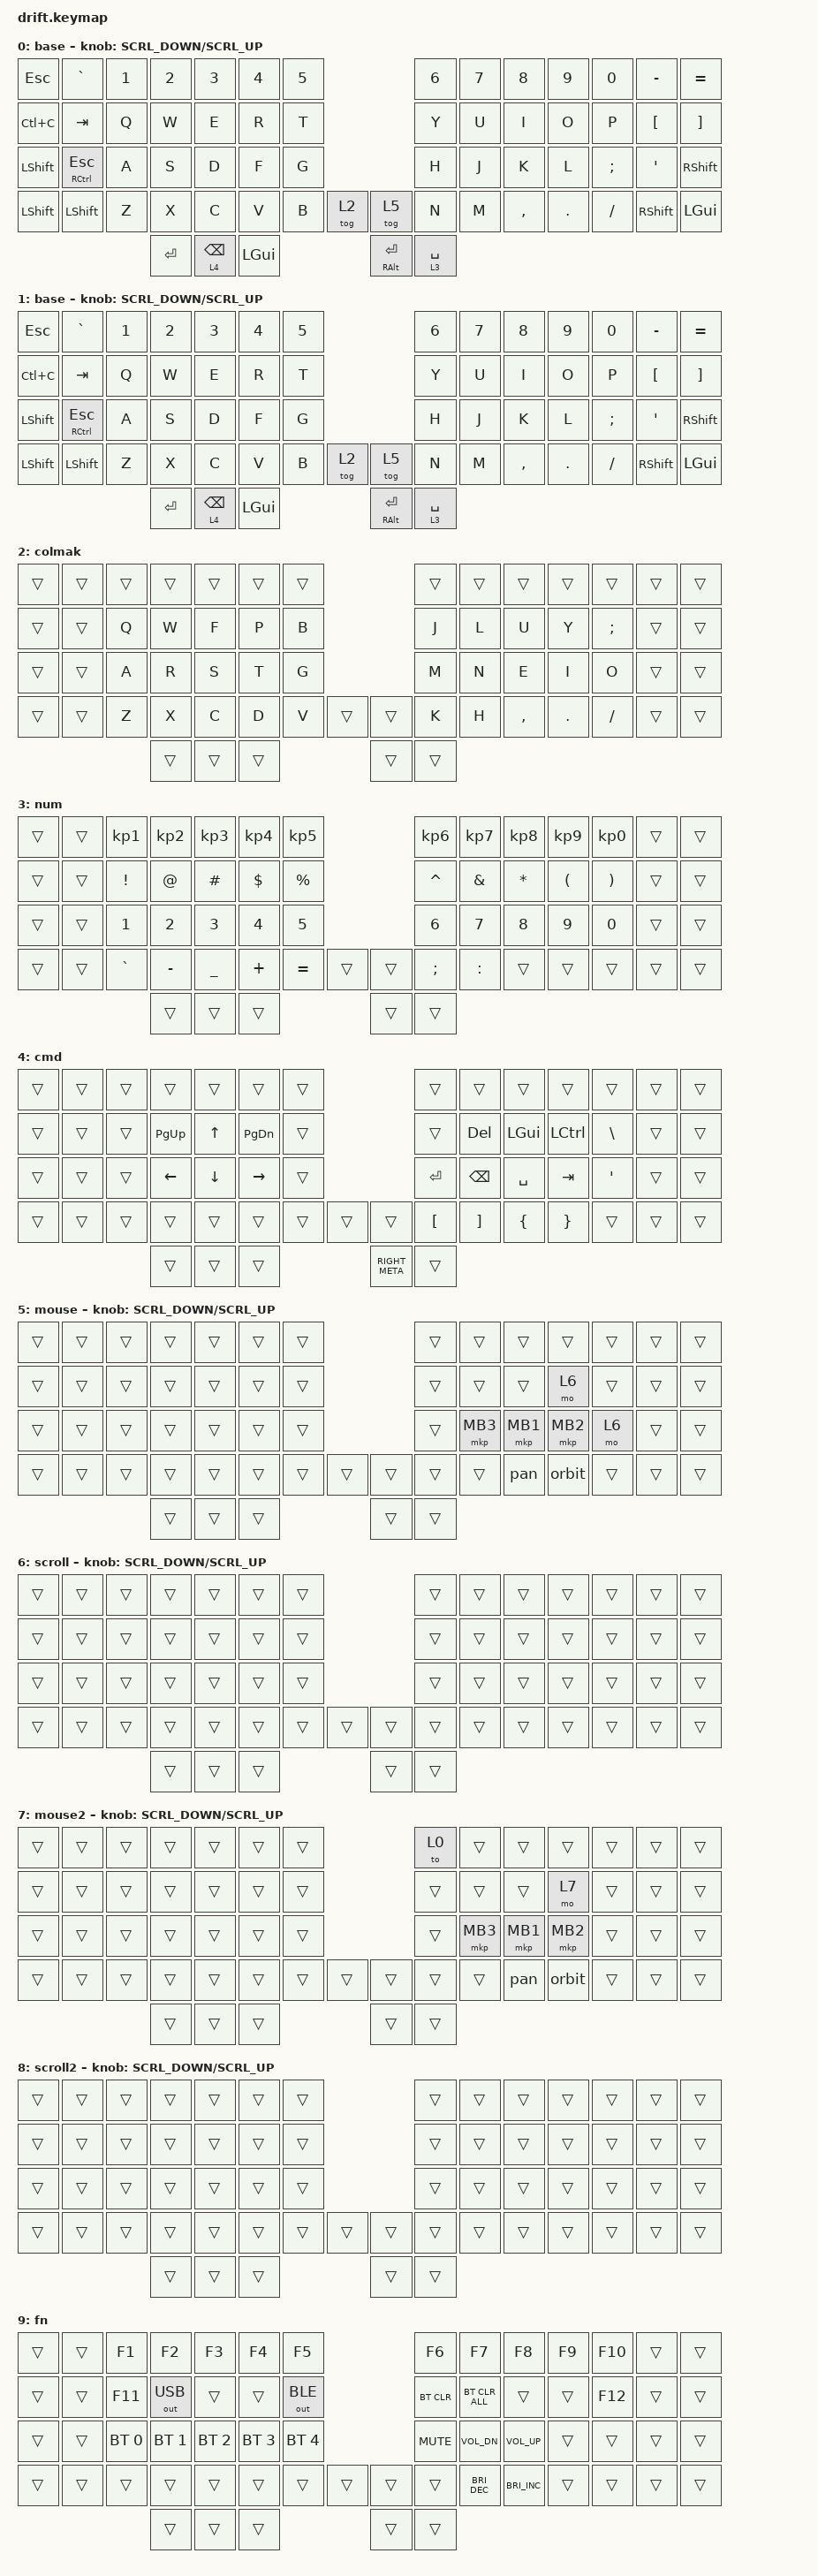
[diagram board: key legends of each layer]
// Copyright (c) 2025 The ZMK Contributors
// SPDX-License-Identifier: MIT
// Default scroll sensitivity for encoder-based scrolling

#define ZMK_POINTING_DEFAULT_SCRL_VAL 100    // default was 10

#include <input/processors.dtsi>
#include <dt-bindings/zmk/mouse.h>
#include <behaviors/mouse_keys.dtsi>
#include <dt-bindings/zmk/input_transform.h>
#include <zephyr/dt-bindings/input/input-event-codes.h>
#include <behaviors.dtsi>
#include <dt-bindings/zmk/bt.h>
#include <dt-bindings/zmk/keys.h>
#include <dt-bindings/zmk/outputs.h>
#include <dt-bindings/zmk/pointing.h>

// Keep all behavior settings visible in ZMK Studio

#define ZMK_BEHAVIORS_OMIT_KT

// Layer indices

#define BASE    0
#define LOWER   1
#define RAISE   2
#define ADJUST  3
#define MOUSE   4
#define SCROLL  5
#define MOUSE2  6
#define SCROLL2 7

// Reference: https://zmk.dev/docs/keymaps/behaviors/

/ {
    conditional_layers {
        compatible = "zmk,conditional-layers";

        tri_layer {
            if-layers = <3 4>;
            then-layer = <9>;
        };

        tri2 {
            if-layers = <4 3>;
            then-layer = <9>;
        };
    };

    behaviors {
        enc_scroll: enc_scroller {
            compatible = "zmk,behavior-sensor-rotate-var";
            #sensor-binding-cells = <2>;
            bindings = <&msc>, <&msc>;

            tap-ms = <20>;
        };

        thumb_layer_space: thumb_layer_space {
            compatible = "zmk,behavior-hold-tap";
            label = "THUMB_LAYER_SPACE";
            bindings = <&mo>, <&kp>;

            #binding-cells = <2>;
            tapping-term-ms = <170>;
            quick-tap-ms = <200>;
            flavor = "balanced";
        };

        thumb_layer: thumb_layer {
            compatible = "zmk,behavior-hold-tap";
            label = "THUMB_LAYER";
            bindings = <&mo>, <&kp>;

            #binding-cells = <2>;
            tapping-term-ms = <200>;
            quick-tap-ms = <300>;
            flavor = "balanced";
        };
    };

    macros {
        orbit: orbit {
            compatible = "zmk,behavior-macro";
            #binding-cells = <0>;
            bindings =
                <&macro_press>,
                <&kp LSHIFT &mkp MCLK>,
                <&macro_pause_for_release>,
                <&macro_release>,
                <&kp LSHIFT &mkp MCLK>;
        };

        pan: pan {
            compatible = "zmk,behavior-macro";
            #binding-cells = <0>;
            bindings =
                <&macro_press>,
                <&mkp MCLK>,
                <&macro_pause_for_release>,
                <&macro_release>,
                <&mkp MCLK>;
        };
    };

    keymap {
        compatible = "zmk,keymap";

        // ------------------------------------------------------------------------------
        // BASE Layer
        // ------------------------------------------------------------------------------
        // | ESC | ` | 1 | 2 |  3  |  4  |  5  |         |  6  |  7  | 8 | 9 | 0 | -  | = |
        // |COPY |TAB| Q | W |  E  |  R  |  T  |         |  Y  |  U  | I | O | P | [  | ] |
        // | GUI |CAP| A | S |  D  |  F  |  G  |         |  H  |  J  | K | L | ; | '  |ENT|
        // | CTL |ALT| Z | X |  C  |  V  |  B  |Paste| \ |  N  |  M  | , | . | / |Bspc|Del|
        //                   |Shift|Space|Lower|         |Raise|Space|

        default_layer {
            display-name = "base";
            bindings = <
&kp ESC         &kp GRAVE                 &kp N1  &kp N2     &kp N3                    &kp N4        &kp N5                               &kp N6                      &kp N7  &kp N8     &kp N9   &kp N0    &kp MINUS        &kp EQUAL
&kp LC(C)       &kp TAB                   &kp Q   &kp W      &kp E                     &kp R         &kp T                                &kp Y                       &kp U   &kp I      &kp O    &kp P     &kp LBKT         &kp RBKT
&kp LEFT_SHIFT  &mt RIGHT_CONTROL ESCAPE  &kp A   &kp S      &kp D                     &kp F         &kp G                                &kp H                       &kp J   &kp K      &kp L    &kp SEMI  &kp SQT          &kp RIGHT_SHIFT
&kp LEFT_SHIFT  &kp LEFT_SHIFT            &kp Z   &kp X      &kp C                     &kp V         &kp B   &tog 2  &tog 5               &kp N                       &kp M   &kp COMMA  &kp DOT  &kp FSLH  &kp RIGHT_SHIFT  &kp LEFT_GUI
                                                  &kp ENTER  &thumb_layer 4 BACKSPACE  &kp LEFT_GUI                  &mt RIGHT_ALT ENTER  &thumb_layer_space 3 SPACE
            >;

            sensor-bindings = <&enc_scroll SCRL_DOWN SCRL_UP>;
        };

        gaming {
            display-name = "base";
            bindings = <
&kp ESC         &kp GRAVE                 &kp N1  &kp N2     &kp N3                    &kp N4        &kp N5                               &kp N6                      &kp N7  &kp N8     &kp N9   &kp N0    &kp MINUS        &kp EQUAL
&kp LC(C)       &kp TAB                   &kp Q   &kp W      &kp E                     &kp R         &kp T                                &kp Y                       &kp U   &kp I      &kp O    &kp P     &kp LBKT         &kp RBKT
&kp LEFT_SHIFT  &mt RIGHT_CONTROL ESCAPE  &kp A   &kp S      &kp D                     &kp F         &kp G                                &kp H                       &kp J   &kp K      &kp L    &kp SEMI  &kp SQT          &kp RIGHT_SHIFT
&kp LEFT_SHIFT  &kp LEFT_SHIFT            &kp Z   &kp X      &kp C                     &kp V         &kp B   &tog 2  &tog 5               &kp N                       &kp M   &kp COMMA  &kp DOT  &kp FSLH  &kp RIGHT_SHIFT  &kp LEFT_GUI
                                                  &kp ENTER  &thumb_layer 4 BACKSPACE  &kp LEFT_GUI                  &mt RIGHT_ALT ENTER  &thumb_layer_space 3 SPACE
            >;

            sensor-bindings = <&enc_scroll SCRL_DOWN SCRL_UP>;
        };

        colmak {
            bindings = <
&trans  &trans  &trans  &trans  &trans  &trans  &trans                  &trans  &trans  &trans     &trans   &trans    &trans  &trans
&trans  &trans  &kp Q   &kp W   &kp F   &kp P   &kp B                   &kp J   &kp L   &kp U      &kp Y    &kp SEMI  &trans  &trans
&trans  &trans  &kp A   &kp R   &kp S   &kp T   &kp G                   &kp M   &kp N   &kp E      &kp I    &kp O     &trans  &trans
&trans  &trans  &kp Z   &kp X   &kp C   &kp D   &kp V   &trans  &trans  &kp K   &kp H   &kp COMMA  &kp DOT  &kp FSLH  &trans  &trans
                        &trans  &trans  &trans                  &trans  &trans
            >;

            label = "colmak";
        };

        number {
            bindings = <
&trans  &trans  &kp KP_NUMBER_1  &kp KP_NUMBER_2  &kp KP_NUMBER_3  &kp KP_NUMBER_4  &kp KP_NUMBER_5                  &kp KP_NUMBER_6  &kp KP_NUMBER_7  &kp KP_NUMBER_8  &kp KP_NUMBER_9       &kp KP_NUMBER_0        &trans  &trans
&trans  &trans  &kp EXCLAMATION  &kp AT_SIGN      &kp HASH         &kp DOLLAR       &kp PERCENT                      &kp CARET        &kp AMPERSAND    &kp ASTERISK     &kp LEFT_PARENTHESIS  &kp RIGHT_PARENTHESIS  &trans  &trans
&trans  &trans  &kp N1           &kp N2           &kp N3           &kp N4           &kp N5                           &kp N6           &kp N7           &kp N8           &kp N9                &kp N0                 &trans  &trans
&trans  &trans  &kp GRAVE        &kp MINUS        &kp UNDER        &kp PLUS         &kp EQUAL        &trans  &trans  &kp SEMICOLON    &kp COLON        &trans           &trans                &trans                 &trans  &trans
                                 &trans           &trans           &trans                                    &trans  &trans
            >;

            label = "num";
        };

        cmd {
            bindings = <
&trans  &trans  &trans  &trans       &trans          &trans         &trans                          &trans     &trans    &trans          &trans            &trans    &trans  &trans
&trans  &trans  &trans  &kp PAGE_UP  &kp UP_ARROW    &kp PAGE_DOWN  &trans                          &trans     &kp DEL   &kp LEFT_GUI    &kp LEFT_CONTROL  &kp BSLH  &trans  &trans
&trans  &trans  &trans  &kp LEFT     &kp DOWN_ARROW  &kp RIGHT      &trans                          &kp ENTER  &kp BSPC  &kp SPACE       &kp TAB           &kp APOS  &trans  &trans
&trans  &trans  &trans  &trans       &trans          &trans         &trans  &trans  &trans          &kp LBKT   &kp RBKT  &kp LEFT_BRACE  &kp RIGHT_BRACE   &trans    &trans  &trans
                        &trans       &trans          &trans                         &kp RIGHT_META  &trans
            >;

            label = "cmd";
        };

        mouse_layer {
            display-name = "mouse";
            bindings = <
&trans  &trans  &trans  &trans  &trans  &trans  &trans                  &trans  &trans    &trans    &trans    &trans  &trans  &trans
&trans  &trans  &trans  &trans  &trans  &trans  &trans                  &trans  &trans    &trans    &mo 6     &trans  &trans  &trans
&trans  &trans  &trans  &trans  &trans  &trans  &trans                  &trans  &mkp MB3  &mkp MB1  &mkp MB2  &mo 6   &trans  &trans
&trans  &trans  &trans  &trans  &trans  &trans  &trans  &trans  &trans  &trans  &trans    &pan      &orbit    &trans  &trans  &trans
                        &trans  &trans  &trans                  &trans  &trans
            >;

            sensor-bindings = <&enc_scroll SCRL_DOWN SCRL_UP>;
        };

        scroll_layer {
            display-name = "scroll";
            bindings = <
&trans  &trans  &trans  &trans  &trans  &trans  &trans                  &trans  &trans  &trans  &trans  &trans  &trans  &trans
&trans  &trans  &trans  &trans  &trans  &trans  &trans                  &trans  &trans  &trans  &trans  &trans  &trans  &trans
&trans  &trans  &trans  &trans  &trans  &trans  &trans                  &trans  &trans  &trans  &trans  &trans  &trans  &trans
&trans  &trans  &trans  &trans  &trans  &trans  &trans  &trans  &trans  &trans  &trans  &trans  &trans  &trans  &trans  &trans
                        &trans  &trans  &trans                  &trans  &trans
            >;

            sensor-bindings = <&enc_scroll SCRL_DOWN SCRL_UP>;
        };

        mouse2_layer {
            display-name = "mouse2";
            bindings = <
&trans  &trans  &trans  &trans  &trans  &trans  &trans                  &to 0   &trans    &trans    &trans    &trans  &trans  &trans
&trans  &trans  &trans  &trans  &trans  &trans  &trans                  &trans  &trans    &trans    &mo 7     &trans  &trans  &trans
&trans  &trans  &trans  &trans  &trans  &trans  &trans                  &trans  &mkp MB3  &mkp MB1  &mkp MB2  &trans  &trans  &trans
&trans  &trans  &trans  &trans  &trans  &trans  &trans  &trans  &trans  &trans  &trans    &pan      &orbit    &trans  &trans  &trans
                        &trans  &trans  &trans                  &trans  &trans
            >;

            sensor-bindings = <&enc_scroll SCRL_DOWN SCRL_UP>;
        };

        scroll2_layer {
            display-name = "scroll2";
            bindings = <
&trans  &trans  &trans  &trans  &trans  &trans  &trans                  &trans  &trans  &trans  &trans  &trans  &trans  &trans
&trans  &trans  &trans  &trans  &trans  &trans  &trans                  &trans  &trans  &trans  &trans  &trans  &trans  &trans
&trans  &trans  &trans  &trans  &trans  &trans  &trans                  &trans  &trans  &trans  &trans  &trans  &trans  &trans
&trans  &trans  &trans  &trans  &trans  &trans  &trans  &trans  &trans  &trans  &trans  &trans  &trans  &trans  &trans  &trans
                        &trans  &trans  &trans                  &trans  &trans
            >;

            sensor-bindings = <&enc_scroll SCRL_DOWN SCRL_UP>;
        };

        fn_symbol {
            bindings = <
&trans  &trans  &kp F1        &kp F2        &kp F3        &kp F4        &kp F5                        &kp F6      &kp F7                &kp F8                &kp F9  &kp F10  &trans  &trans
&trans  &trans  &kp F11       &out OUT_USB  &trans        &trans        &out OUT_BLE                  &bt BT_CLR  &bt BT_CLR_ALL        &trans                &trans  &kp F12  &trans  &trans
&trans  &trans  &bt BT_SEL 0  &bt BT_SEL 1  &bt BT_SEL 2  &bt BT_SEL 3  &bt BT_SEL 4                  &kp C_MUTE  &kp C_VOL_DN          &kp C_VOLUME_UP       &trans  &trans   &trans  &trans
&trans  &trans  &trans        &trans        &trans        &trans        &trans        &trans  &trans  &trans      &kp C_BRIGHTNESS_DEC  &kp C_BRIGHTNESS_INC  &trans  &trans   &trans  &trans
                              &trans        &trans        &trans                              &trans  &trans
            >;

            label = "fn";
        };
    };
};
